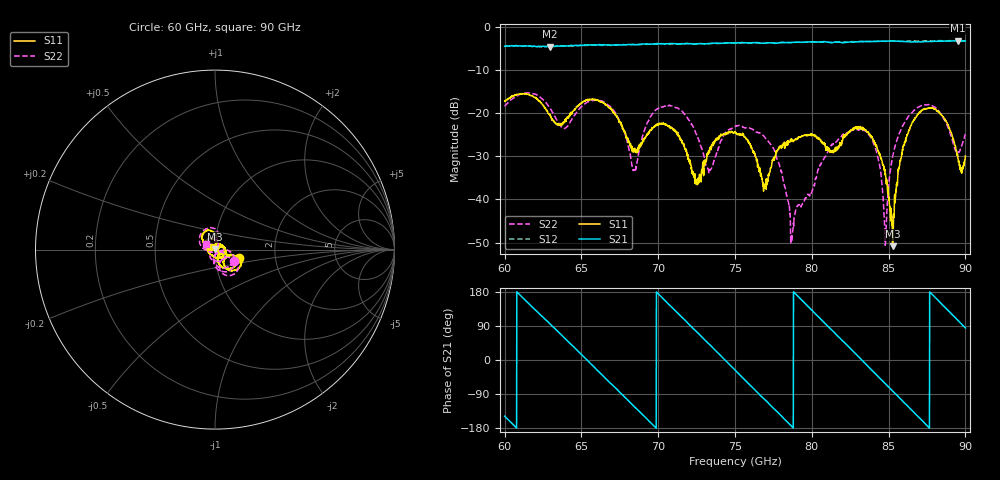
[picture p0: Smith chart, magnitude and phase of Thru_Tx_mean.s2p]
!Keysight Technologies,N5242A,MY56023178,A.10.60.03
!Date: Tuesday, August 25, 2020 09:26:59
!Correction: S11(Full 2 Port(1,2))
!S21(Full 2 Port(1,2))
!S12(Full 2 Port(1,2))
!S22(Full 2 Port(1,2))
!S2P File: Measurements: S11, S21, S12, S22:
# Hz S  dB  R 50
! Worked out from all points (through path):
!   2001 points, 60 GHz to 90 GHz, reference 50 ohm
!   highest |S21| = -3.08 dB at 89.49 GHz (marker M1); lowest = -4.5 dB at 62.94 GHz (marker M2)
!   lowest |S11| = -50.8 dB at 85.26 GHz (marker M3), VSWR 1.01, Z = 49.9 + j0.277 ohm
!   |S11| at or under -10 dB: start of sweep to end of sweep
!   |S22| runs from -50.7 to -15.2 dB; largest |S21 - S12| = 0.022
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6e10  -17.15 -18.9  -4.41 -148.2  -4.39 -148.3  -18.36 -30.3
6.294e10  -20.19 -57.7  -4.49 95.9  -4.47 95.9  -18.67 -76.4
6.501e10  -17.67 -22.2  -4.19 14.2  -4.22 14.6  -18.38 -32.1
6.756e10  -22.34 -74.4  -4.13 -87.5  -4.06 -87.1  -22.33 -93.2
6.8445e10  -28.54 -47.3  -4.02 -123.0  -4.00 -122.7  -33.15 -50.0
7.0005e10  -22.67 -26.9  -3.81 174.6  -3.87 175.1  -18.84 -24.1
7.239e10  -34.02 -27.5  -3.89 78.9  -3.87 79.3  -23.98 -96.9
7.335e10  -28.33 29.3  -3.76 40.6  -3.82 41.5  -33.13 -56.2
7.5e10  -24.38 -17.3  -3.64 -26.6  -3.69 -25.7  -23.01 -41.1
7.713e10  -35.71 34.2  -3.60 -111.9  -3.57 -112.1  -26.31 -124.5
7.8705e10  -26.10 18.0  -3.51 -175.5  -3.50 -175.4  -49.28 79.7
8.001e10  -24.93 -43.7  -3.36 131.0  -3.43 131.5  -38.11 -107.9
8.1435e10  -28.98 -141.6  -3.45 73.6  -3.48 73.6  -27.13 176.1
8.289e10  -23.13 131.0  -3.35 14.8  -3.30 14.7  -23.57 106.5
8.412e10  -27.20 79.5  -3.28 -35.5  -3.23 -35.1  -27.82 60.2
8.4765e10  -33.72 51.6  -3.22 -61.5  -3.25 -61.7  -49.36 99.3
8.5005e10  -39.16 54.4  -3.18 -71.4  -3.22 -71.7  -36.72 -167.6
8.526e10  -50.85 104.7  -3.14 -81.7  -3.23 -82.5  -30.02 -168.7
8.601e10  -27.26 160.0  -3.30 -112.6  -3.19 -113.6  -22.35 167.6
8.706e10  -19.61 132.8  -3.38 -155.3  -3.18 -155.3  -18.29 125.9
8.949e10  -29.51 82.9  -3.08 105.3  -3.07 105.4  -29.09 112.3
9e10  -29.90 152.5  -3.13 84.6  -3.10 84.5  -24.82 149.9
